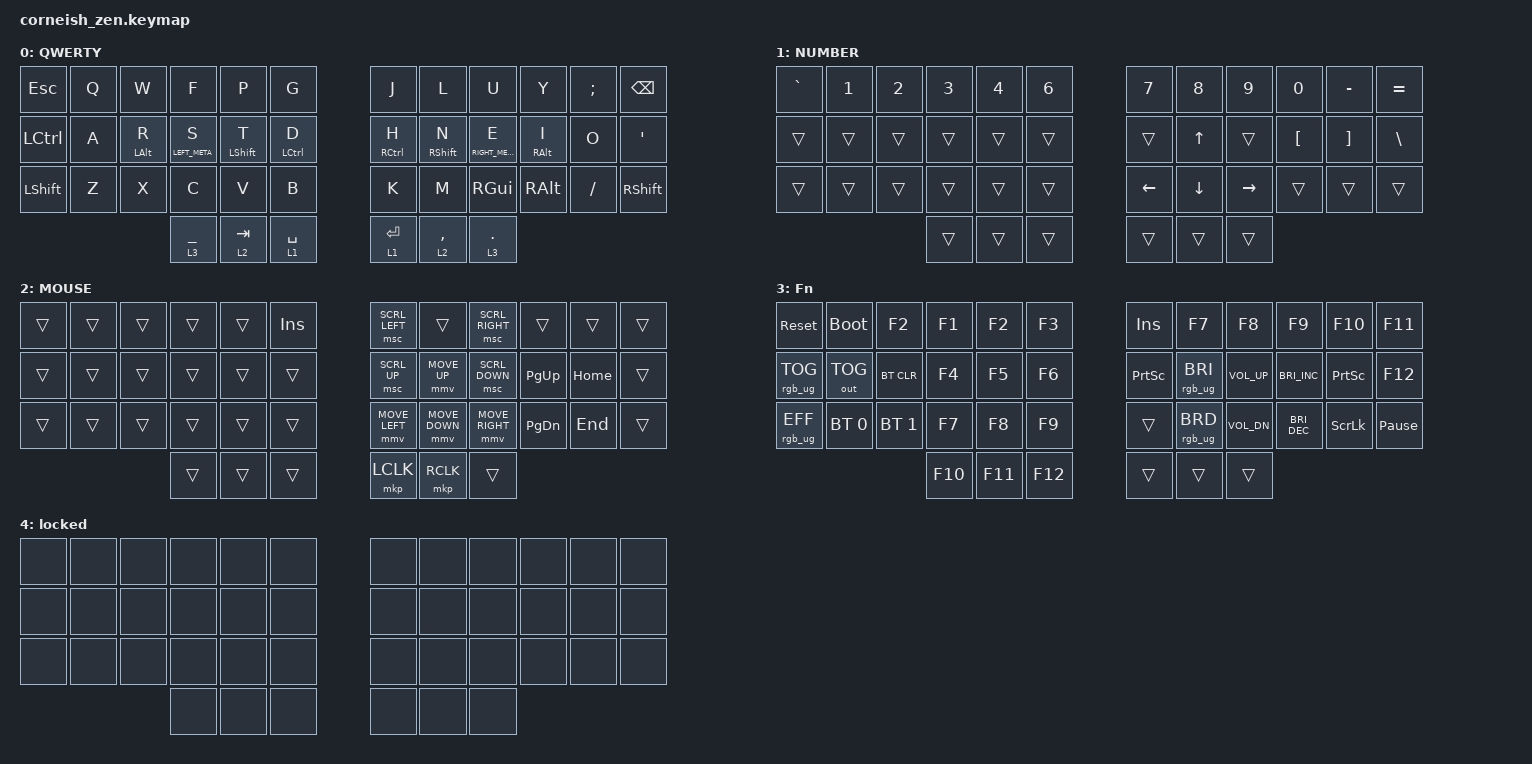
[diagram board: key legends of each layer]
/*
 * Copyright (c) 2020 The ZMK Contributors
 *
 * SPDX-License-Identifier: MIT
 */
//#include <dt-bindings/zmk/mouse.h>

#include "mouse.dtsi"
#include <dt-bindings/zmk/mouse.h>


#include <behaviors.dtsi>
#include <dt-bindings/zmk/bt.h>
#include <dt-bindings/zmk/keys.h>
#include <dt-bindings/zmk/outputs.h>
#include <dt-bindings/zmk/rgb.h>

/ {
    chosen {
        zmk,matrix_transform = &default_transform;

        // zmk,matrix_transform = &five_column_transform;
    };
};

/ {
    behaviors {
        td0: td0 {
            compatible = "zmk,behavior-tap-dance";
            label = "TD0";
            #binding-cells = <0>;
            bindings = <&kp INS>, <&kp CAPS>;
        };

        paren: paren {
            compatible = "zmk,behavior-mod-morph";
            label = "PAREN";
            bindings = <&kp LEFT_PARENTHESIS>, <&kp RIGHT_PARENTHESIS>;

            #binding-cells = <0>;
            mods = <(MOD_LSFT|MOD_RSFT)>;
        };

        bracket: bracket {
            compatible = "zmk,behavior-mod-morph";
            label = "BRACKET";
            bindings = <&kp LEFT_BRACKET>, <&kp RIGHT_BRACKET>;

            #binding-cells = <0>;
            mods = <(MOD_LSFT|MOD_RSFT)>;
        };

        brace: brace {
            compatible = "zmk,behavior-mod-morph";
            label = "BRACE";
            bindings = <&kp LEFT_BRACE>, <&kp RIGHT_BRACE>;

            #binding-cells = <0>;
            mods = <(MOD_LSFT|MOD_RSFT)>;
        };

        ranglelangle: ranglelangle {
            compatible = "zmk,behavior-mod-morph";
            label = "RANGLELANGLE";
            bindings = <&kp LESS_THAN>, <&kp GREATER_THAN>;

            #binding-cells = <0>;
            mods = <(MOD_LSFT|MOD_RSFT)>;
        };

        refderef: refderef {
            compatible = "zmk,behavior-mod-morph";
            label = "REFDEREF";
            bindings = <&kp AMPS>, <&kp ASTERISK>;

            #binding-cells = <0>;
            mods = <(MOD_LSFT|MOD_RSFT)>;
        };

        slash: slash {
            compatible = "zmk,behavior-mod-morph";
            label = "SLASH";
            bindings = <&kp SLASH>, <&kp BACKSLASH>;

            #binding-cells = <0>;
            mods = <(MOD_LSFT|MOD_RSFT)>;
        };

        plusminus: plusminus {
            compatible = "zmk,behavior-mod-morph";
            label = "PLUSMINUS";
            bindings = <&kp PLUS>, <&kp MINUS>;

            #binding-cells = <0>;
            mods = <(MOD_LSFT|MOD_RSFT)>;
        };

        mod_paren: mod_paren {
            compatible = "zmk,behavior-hold-tap";
            label = "MOD_PAREN";
            bindings = <&kp>, <&paren>;

            #binding-cells = <2>;
            tapping-term-ms = <200>;
            flavor = "tap-preferred";
        };

        mod_brace: mod_brace {
            compatible = "zmk,behavior-hold-tap";
            label = "MOD_BRACE";
            bindings = <&kp>, <&brace>;

            #binding-cells = <2>;
            tapping-term-ms = <200>;
            flavor = "tap-preferred";
        };

        mod_bracket: mod_bracket {
            compatible = "zmk,behavior-hold-tap";
            label = "MOD_BRACKET";
            bindings = <&kp>, <&bracket>;

            #binding-cells = <2>;
            tapping-term-ms = <200>;
            flavor = "tap-preferred";
        };

        mod_ranglelangle: mod_ranglelangle {
            compatible = "zmk,behavior-hold-tap";
            label = "MOD_RANGLELANGLE";
            bindings = <&kp>, <&ranglelangle>;

            #binding-cells = <2>;
            tapping-term-ms = <200>;
            flavor = "tap-preferred";
        };

        cmt: cmt {
            compatible = "zmk,behavior-hold-tap";
            label = "Custom Mod Tap";
            bindings = <&kp>, <&kp>;

            #binding-cells = <2>;
            tapping-term-ms = <200>;
            flavor = "tap-preferred";
            require-prior-idle-ms = <125>;
            retro-tap;
        };

        cmt_left: cmt_left {
            compatible = "zmk,behavior-hold-tap";
            label = "CMT_LEFT";
            bindings = <&kp>, <&kp>;

            #binding-cells = <2>;
            tapping-term-ms = <2000>;
            flavor = "balanced";
            require-prior-idle-ms = <125>;
            retro-tap;
            hold-trigger-key-positions = <6 18 30 39 40 6 7 8 9 10 11 18 19 20 21 22 23 30 31 32 33 34 35 40 41>;
            hold-trigger-on-release;
        };

        cmt_right: cmt_right {
            compatible = "zmk,behavior-hold-tap";
            label = "CMT_RIGHT";
            bindings = <&kp>, <&kp>;

            #binding-cells = <2>;
            tapping-term-ms = <2000>;
            flavor = "balanced";
            require-prior-idle-ms = <125>;
            retro-tap;
            hold-trigger-on-release;
            hold-trigger-key-positions = <0 1 2 3 4 5 12 13 14 15 16 17 24 25 26 27 28 29 36 37 38>;
        };

        bangquestion: bangquestion {
            compatible = "zmk,behavior-mod-morph";
            label = "BANGQUESTION";
            bindings = <&kp EXCLAMATION>, <&kp QUESTION>;

            #binding-cells = <0>;
            mods = <(MOD_LSFT|MOD_RSFT)>;
        };
    };

    combos {
        compatible = "zmk,combos";

        lock {
            bindings = <&tog 4>;
            key-positions = <24 0 5 38>;
            layers = <0 4>;
        };
    };

    keymap {
        compatible = "zmk,keymap";

        default_layer {
            display-name = "QWERTY";

            // --------------------------------------------------------------------------------
            // |  TAB |  Q  |  W  |  E  |  R  |  T  |   |  Y  |  U   |  I  |  O  |  P  | BKSP |
            // | CTRL |  A  |  S  |  D  |  F  |  G  |   |  H  |  J   |  K  |  L  |  ;  |  '   |
            // | SHFT |  Z  |  X  |  C  |  V  |  B  |   |  N  |  M   |  ,  |  .  |  /  | ESC  |
            //                    | GUI | LWR | SPC |   | ENT | RSE  | ALT |

            bindings = <
&kp ESCAPE        &kp Q  &kp W                 &kp F                  &kp P                   &kp G                       &kp J                       &kp L                     &kp U                    &kp Y                   &kp SEMI   &kp BACKSPACE
&kp LEFT_CONTROL  &kp A  &cmt_left LEFT_ALT R  &cmt_left LEFT_META S  &cmt_left LEFT_SHIFT T  &cmt_left LEFT_CONTROL D    &cmt_right RIGHT_CONTROL H  &cmt_right RIGHT_SHIFT N  &cmt_right RIGHT_META E  &cmt_right RIGHT_ALT I  &kp O      &kp SQT
&kp LEFT_SHIFT    &kp Z  &kp X                 &kp C                  &kp V                   &kp B                       &kp K                       &kp M                     &kp RIGHT_GUI            &kp RIGHT_ALT           &kp SLASH  &kp RIGHT_SHIFT
                                               &lt 3 UNDER            &lt 2 TAB               &lt 1 SPACE                 &lt 1 ENTER                 &lt 2 COMMA               &lt 3 PERIOD
            >;
        };

        number {
            display-name = "NUMBER";

            // -----------------------------------------------------------------------------------------
            // |  TAB |  1  |  2  |  3  |  4  |  5  |   |  6  |  7  |  8  |  9  |  0  | BKSP |
            // | BTCLR| BT1 | BT2 | BT3 | BT4 | BT5 |   | LFT | DWN |  UP | RGT |     |      |
            // | SHFT |     |     |     |     |     |   |     |     |     |     |     |      |
            //                    | GUI |     | SPC |   | ENT |     | ALT |

            bindings = <
&kp GRAVE  &kp NUMBER_1  &kp NUMBER_2  &kp NUMBER_3  &kp NUMBER_4  &kp NUMBER_6    &kp N7    &kp N8    &kp N9     &kp N0            &kp MINUS          &kp EQUAL
&trans     &trans        &trans        &trans        &trans        &trans          &trans    &kp UP    &trans     &kp LEFT_BRACKET  &kp RIGHT_BRACKET  &kp BACKSLASH
&trans     &trans        &trans        &trans        &trans        &trans          &kp LEFT  &kp DOWN  &kp RIGHT  &trans            &trans             &trans
                                       &trans        &trans        &trans          &trans    &trans    &trans
            >;
        };

        mouse {
            display-name = "MOUSE";
            bindings = <
&trans  &trans  &trans  &trans  &trans  &kp INSERT    &msc SCRL_LEFT  &trans          &msc SCRL_RIGHT  &trans         &trans    &trans
&trans  &trans  &trans  &trans  &trans  &trans        &msc SCRL_UP    &mmv MOVE_UP    &msc SCRL_DOWN   &kp PAGE_UP    &kp HOME  &trans
&trans  &trans  &trans  &trans  &trans  &trans        &mmv MOVE_LEFT  &mmv MOVE_DOWN  &mmv MOVE_RIGHT  &kp PAGE_DOWN  &kp END   &trans
                        &trans  &trans  &trans        &mkp LCLK       &mkp RCLK       &trans
            >;
        };

        fn {
            display-name = "Fn";
            bindings = <
&sys_reset       &bootloader   &kp F2        &kp F1   &kp F2   &kp F3     &kp INS          &kp F7           &kp F8           &kp F9                &kp F10          &kp F11
&rgb_ug RGB_TOG  &out OUT_TOG  &bt BT_CLR    &kp F4   &kp F5   &kp F6     &kp PRINTSCREEN  &rgb_ug RGB_BRI  &kp C_VOLUME_UP  &kp C_BRIGHTNESS_INC  &kp PRINTSCREEN  &kp F12
&rgb_ug RGB_EFF  &bt BT_SEL 0  &bt BT_SEL 1  &kp F7   &kp F8   &kp F9     &trans           &rgb_ug RGB_BRD  &kp C_VOL_DN     &kp C_BRIGHTNESS_DEC  &kp SCROLLLOCK   &kp PAUSE_BREAK
                                             &kp F10  &kp F11  &kp F12    &trans           &trans           &trans
            >;
        };

        locked {
            bindings = <
&none  &none  &none  &none  &none  &none    &none  &none  &none  &none  &none  &none
&none  &none  &none  &none  &none  &none    &none  &none  &none  &none  &none  &none
&none  &none  &none  &none  &none  &none    &none  &none  &none  &none  &none  &none
                     &none  &none  &none    &none  &none  &none
            >;
        };
    };

    conditional_layers { compatible = "zmk,conditional-layers"; };
};
